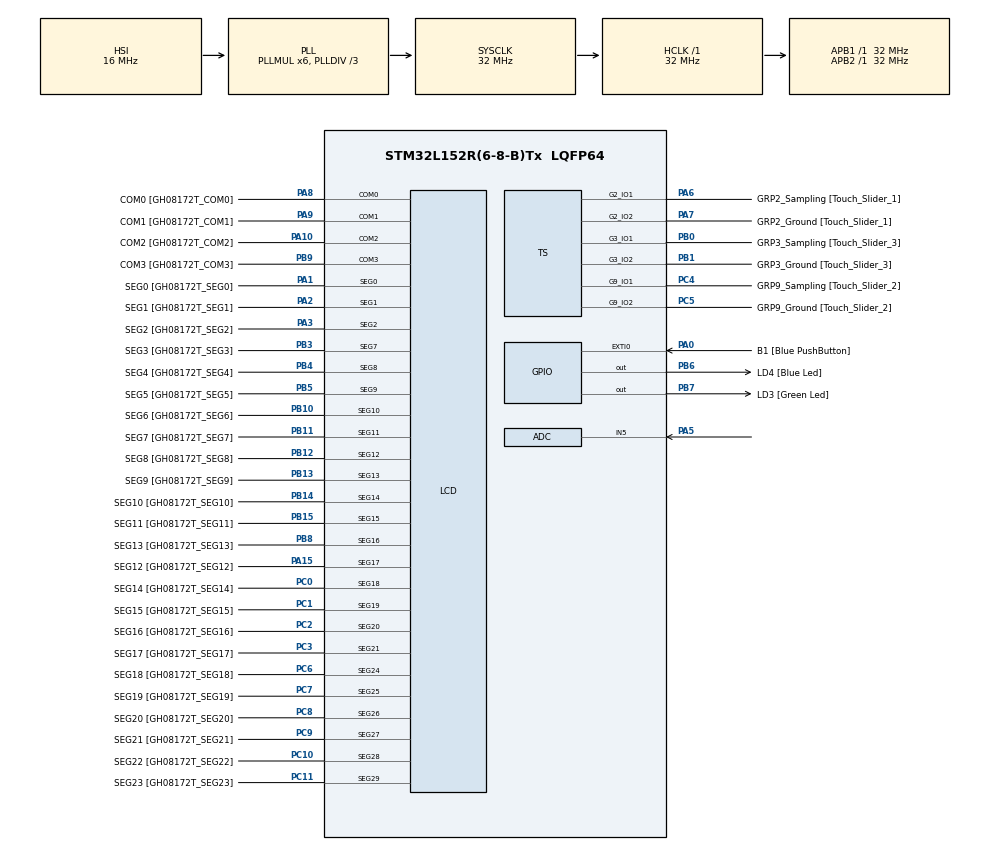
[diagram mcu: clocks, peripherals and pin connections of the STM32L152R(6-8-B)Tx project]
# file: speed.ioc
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ADC.Channel-0\#ChannelRegularConversion=ADC_CHANNEL_5
ADC.ExternalTrigConv=ADC_EXTERNALTRIGCONV_T2_CC3
ADC.ExternalTrigConvEdge=ADC_EXTERNALTRIGCONVEDGE_RISING
ADC.Rank-0\#ChannelRegularConversion=1
ADC.SamplingTime-0\#ChannelRegularConversion=ADC_SAMPLETIME_4CYCLES
Mcu.Family=STM32L1
Mcu.Name=STM32L152R(6-8-B)Tx
Mcu.Package=LQFP64
NVIC.PriorityGroup=NVIC_PRIORITYGROUP_0
PA0-WKUP1.GPIO_Label=B1 [Blue PushButton]
PA0-WKUP1.GPIO_ModeDefaultEXTI=GPIO_MODE_EVT_RISING
PA0-WKUP1.GPIO_PuPd=GPIO_NOPULL
PA0-WKUP1.Signal=GPXTI0
PA1.GPIO_Label=SEG0 [GH08172T_SEG0]
PA1.GPIO_Mode=GPIO_MODE_AF_PP
PA1.GPIO_PuPd=GPIO_NOPULL
PA1.GPIO_Speed=GPIO_SPEED_FREQ_LOW
PA1.Mode=SEG0
PA1.Signal=LCD_SEG0
PA10.GPIO_Label=COM2 [GH08172T_COM2]
PA10.GPIO_Mode=GPIO_MODE_AF_PP
PA10.GPIO_PuPd=GPIO_NOPULL
PA10.GPIO_Speed=GPIO_SPEED_FREQ_LOW
PA10.Mode=1/4 Duty Cycle
PA10.Signal=LCD_COM2
PA13.GPIO_Label=SWDIO
PA13.Mode=Serial_Wire
PA13.Signal=SYS_JTMS-SWDIO
PA14.GPIO_Label=SWCLK
PA14.Mode=Serial_Wire
PA14.Signal=SYS_JTCK-SWCLK
PA15.GPIO_Label=SEG12 [GH08172T_SEG12]
PA15.GPIO_Mode=GPIO_MODE_AF_PP
PA15.GPIO_PuPd=GPIO_NOPULL
PA15.GPIO_Speed=GPIO_SPEED_FREQ_LOW
PA15.Mode=SEG17
PA15.Signal=LCD_SEG17
PA2.GPIO_Label=SEG1 [GH08172T_SEG1]
PA2.GPIO_Mode=GPIO_MODE_AF_PP
PA2.GPIO_PuPd=GPIO_NOPULL
PA2.GPIO_Speed=GPIO_SPEED_FREQ_LOW
PA2.Mode=SEG1
PA2.Signal=LCD_SEG1
PA3.GPIO_Label=SEG2 [GH08172T_SEG2]
PA3.GPIO_Mode=GPIO_MODE_AF_PP
PA3.GPIO_PuPd=GPIO_NOPULL
PA3.GPIO_Speed=GPIO_SPEED_FREQ_LOW
PA3.Mode=SEG2
PA3.Signal=LCD_SEG2
PA4.GPIO_Label=IDD_Measurement
PA4.GPIO_Mode=GPIO_MODE_ANALOG
PA4.GPIO_PuPd=GPIO_NOPULL
PA4.Signal=ADC_IN4
PA5.Mode=IN5
PA5.Signal=ADC_IN5
PA6.GPIO_Label=GRP2_Sampling [Touch_Slider_1]
PA6.Mode=G2_IO1-Sampling
PA6.Signal=TS_G2_IO1
PA7.GPIO_Label=GRP2_Ground [Touch_Slider_1]
PA7.Mode=G2_IO2-Channel
PA7.Signal=TS_G2_IO2
PA8.GPIO_Label=COM0 [GH08172T_COM0]
PA8.GPIO_Mode=GPIO_MODE_AF_PP
PA8.GPIO_PuPd=GPIO_NOPULL
PA8.GPIO_Speed=GPIO_SPEED_FREQ_LOW
PA8.Mode=1/4 Duty Cycle
PA8.Signal=LCD_COM0
PA9.GPIO_Label=COM1 [GH08172T_COM1]
PA9.GPIO_Mode=GPIO_MODE_AF_PP
PA9.GPIO_PuPd=GPIO_NOPULL
PA9.GPIO_Speed=GPIO_SPEED_FREQ_LOW
PA9.Mode=1/4 Duty Cycle
PA9.Signal=LCD_COM1
PB0.GPIO_Label=GRP3_Sampling [Touch_Slider_3]
PB0.Mode=G3_IO1-Sampling
PB0.Signal=TS_G3_IO1
PB1.GPIO_Label=GRP3_Ground [Touch_Slider_3]
PB1.Mode=G3_IO2-Channel
PB1.Signal=TS_G3_IO2
PB10.GPIO_Label=SEG6 [GH08172T_SEG6]
PB10.GPIO_Mode=GPIO_MODE_AF_PP
PB10.GPIO_PuPd=GPIO_NOPULL
PB10.GPIO_Speed=GPIO_SPEED_FREQ_LOW
PB10.Mode=SEG10
PB10.Signal=LCD_SEG10
PB11.GPIO_Label=SEG7 [GH08172T_SEG7]
PB11.GPIO_Mode=GPIO_MODE_AF_PP
PB11.GPIO_PuPd=GPIO_NOPULL
PB11.GPIO_Speed=GPIO_SPEED_FREQ_LOW
PB11.Mode=SEG11
PB11.Signal=LCD_SEG11
PB12.GPIO_Label=SEG8 [GH08172T_SEG8]
PB12.GPIO_Mode=GPIO_MODE_AF_PP
PB12.GPIO_PuPd=GPIO_NOPULL
PB12.GPIO_Speed=GPIO_SPEED_FREQ_LOW
PB12.Mode=SEG12
PB12.Signal=LCD_SEG12
PB13.GPIO_Label=SEG9 [GH08172T_SEG9]
PB13.GPIO_Mode=GPIO_MODE_AF_PP
PB13.GPIO_PuPd=GPIO_NOPULL
PB13.GPIO_Speed=GPIO_SPEED_FREQ_LOW
PB13.Mode=SEG13
PB13.Signal=LCD_SEG13
PB14.GPIO_Label=SEG10 [GH08172T_SEG10]
PB14.GPIO_Mode=GPIO_MODE_AF_PP
PB14.GPIO_PuPd=GPIO_NOPULL
PB14.GPIO_Speed=GPIO_SPEED_FREQ_LOW
PB14.Mode=SEG14
PB14.Signal=LCD_SEG14
PB15.GPIO_Label=SEG11 [GH08172T_SEG11]
PB15.GPIO_Mode=GPIO_MODE_AF_PP
PB15.GPIO_PuPd=GPIO_NOPULL
PB15.GPIO_Speed=GPIO_SPEED_FREQ_LOW
PB15.Mode=SEG15
PB15.Signal=LCD_SEG15
PB3.GPIO_Label=SEG3 [GH08172T_SEG3]
PB3.GPIO_Mode=GPIO_MODE_AF_PP
PB3.GPIO_PuPd=GPIO_NOPULL
PB3.GPIO_Speed=GPIO_SPEED_FREQ_LOW
PB3.Mode=SEG7
PB3.Signal=LCD_SEG7
PB4.GPIO_Label=SEG4 [GH08172T_SEG4]
PB4.GPIO_Mode=GPIO_MODE_AF_PP
PB4.GPIO_PuPd=GPIO_NOPULL
PB4.GPIO_Speed=GPIO_SPEED_FREQ_LOW
PB4.Mode=SEG8
PB4.Signal=LCD_SEG8
PB5.GPIO_Label=SEG5 [GH08172T_SEG5]
PB5.GPIO_Mode=GPIO_MODE_AF_PP
PB5.GPIO_PuPd=GPIO_NOPULL
PB5.GPIO_Speed=GPIO_SPEED_FREQ_LOW
PB5.Mode=SEG9
PB5.Signal=LCD_SEG9
PB6.GPIO_Label=LD4 [Blue Led]
PB6.GPIO_ModeDefaultOutputPP=GPIO_MODE_OUTPUT_PP
PB6.GPIO_PuPd=GPIO_NOPULL
PB6.GPIO_Speed=GPIO_SPEED_FREQ_LOW
PB6.Signal=GPIO_Output
PB7.GPIO_Label=LD3 [Green Led]
PB7.GPIO_ModeDefaultOutputPP=GPIO_MODE_OUTPUT_PP
PB7.GPIO_PuPd=GPIO_NOPULL
PB7.GPIO_Speed=GPIO_SPEED_FREQ_LOW
PB7.Signal=GPIO_Output
PB8.GPIO_Label=SEG13 [GH08172T_SEG13]
PB8.GPIO_Mode=GPIO_MODE_AF_PP
PB8.GPIO_PuPd=GPIO_NOPULL
PB8.GPIO_Speed=GPIO_SPEED_FREQ_LOW
PB8.Mode=SEG16
PB8.Signal=LCD_SEG16
PB9.GPIO_Label=COM3 [GH08172T_COM3]
PB9.GPIO_Mode=GPIO_MODE_AF_PP
PB9.GPIO_PuPd=GPIO_NOPULL
PB9.GPIO_Speed=GPIO_SPEED_FREQ_LOW
PB9.Mode=1/4 Duty Cycle
PB9.Signal=LCD_COM3
PC0.GPIO_Label=SEG14 [GH08172T_SEG14]
PC0.GPIO_Mode=GPIO_MODE_AF_PP
PC0.GPIO_PuPd=GPIO_NOPULL
PC0.GPIO_Speed=GPIO_SPEED_FREQ_LOW
PC0.Mode=SEG18
PC0.Signal=LCD_SEG18
PC1.GPIO_Label=SEG15 [GH08172T_SEG15]
PC1.GPIO_Mode=GPIO_MODE_AF_PP
PC1.GPIO_PuPd=GPIO_NOPULL
PC1.GPIO_Speed=GPIO_SPEED_FREQ_LOW
PC1.Mode=SEG19
PC1.Signal=LCD_SEG19
PC10.GPIO_Label=SEG22 [GH08172T_SEG22]
PC10.GPIO_Mode=GPIO_MODE_AF_PP
PC10.GPIO_PuPd=GPIO_NOPULL
PC10.GPIO_Speed=GPIO_SPEED_FREQ_LOW
PC10.Mode=SEG28
PC10.Signal=LCD_SEG28
PC11.GPIO_Label=SEG23 [GH08172T_SEG23]
PC11.GPIO_Mode=GPIO_MODE_AF_PP
PC11.GPIO_PuPd=GPIO_NOPULL
PC11.GPIO_Speed=GPIO_SPEED_FREQ_LOW
PC11.Mode=SEG29
PC11.Signal=LCD_SEG29
PC14-OSC32_IN.GPIO_Label=PC14-OSC32_IN
PC14-OSC32_IN.Mode=LSE-External-Oscillator
PC14-OSC32_IN.Signal=RCC_OSC32_IN
PC15-OSC32_OUT.GPIO_Label=PC15-OSC32_OUT
PC15-OSC32_OUT.Mode=LSE-External-Oscillator
PC15-OSC32_OUT.Signal=RCC_OSC32_OUT
PC2.GPIO_Label=SEG16 [GH08172T_SEG16]
PC2.GPIO_Mode=GPIO_MODE_AF_PP
PC2.GPIO_PuPd=GPIO_NOPULL
PC2.GPIO_Speed=GPIO_SPEED_FREQ_LOW
PC2.Mode=SEG20
PC2.Signal=LCD_SEG20
PC3.GPIO_Label=SEG17 [GH08172T_SEG17]
PC3.GPIO_Mode=GPIO_MODE_AF_PP
PC3.GPIO_PuPd=GPIO_NOPULL
PC3.GPIO_Speed=GPIO_SPEED_FREQ_LOW
PC3.Mode=SEG21
PC3.Signal=LCD_SEG21
PC4.GPIO_Label=GRP9_Sampling [Touch_Slider_2]
PC4.Mode=G9_IO1-Sampling
PC4.Signal=TS_G9_IO1
PC5.GPIO_Label=GRP9_Ground [Touch_Slider_2]
PC5.Mode=G9_IO2-Channel
PC5.Signal=TS_G9_IO2
PC6.GPIO_Label=SEG18 [GH08172T_SEG18]
PC6.GPIO_Mode=GPIO_MODE_AF_PP
PC6.GPIO_PuPd=GPIO_NOPULL
PC6.GPIO_Speed=GPIO_SPEED_FREQ_LOW
PC6.Mode=SEG24
PC6.Signal=LCD_SEG24
PC7.GPIO_Label=SEG19 [GH08172T_SEG19]
PC7.GPIO_Mode=GPIO_MODE_AF_PP
PC7.GPIO_PuPd=GPIO_NOPULL
PC7.GPIO_Speed=GPIO_SPEED_FREQ_LOW
PC7.Mode=SEG25
PC7.Signal=LCD_SEG25
PC8.GPIO_Label=SEG20 [GH08172T_SEG20]
PC8.GPIO_Mode=GPIO_MODE_AF_PP
PC8.GPIO_PuPd=GPIO_NOPULL
PC8.GPIO_Speed=GPIO_SPEED_FREQ_LOW
PC8.Mode=SEG26
PC8.Signal=LCD_SEG26
PC9.GPIO_Label=SEG21 [GH08172T_SEG21]
PC9.GPIO_Mode=GPIO_MODE_AF_PP
PC9.GPIO_PuPd=GPIO_NOPULL
PC9.GPIO_Speed=GPIO_SPEED_FREQ_LOW
PC9.Mode=SEG27
PC9.Signal=LCD_SEG27
ProjectManager.HeapSize=0x200
ProjectManager.StackSize=0x400
ProjectManager.TargetToolchain=STM32CubeIDE
RCC.48MHZClocksFreq_Value=48000000
RCC.AHBFreq_Value=32000000
RCC.APB1Freq_Value=32000000
RCC.APB1TimFreq_Value=32000000
RCC.APB2Freq_Value=32000000
RCC.APB2TimFreq_Value=32000000
RCC.HCLKFreq_Value=32000000
RCC.HSE_VALUE=8000000
RCC.HSI_VALUE=16000000
RCC.MSI_VALUE=2097000
RCC.PLLDIV=RCC_PLL_DIV3
RCC.PLLMUL=RCC_PLL_MUL6
RCC.RTCClockSelectionVirtual=RCC_RTCCLKSOURCE_LSE
RCC.SYSCLKFreq_VALUE=32000000
RCC.SYSCLKSource=RCC_SYSCLKSOURCE_PLLCLK
RCC.USBOutput=48000000
RCC.VCOOutputFreq_Value=96000000
VP_TIM2_VS_ClockSourceINT.Mode=Internal
VP_TIM3_VS_ClockSourceINT.Mode=Internal
VP_TIM4_VS_ClockSourceINT.Mode=Internal
board=STM32L-DISCOVERY

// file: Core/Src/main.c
/* USER CODE BEGIN Header */
/**
  ******************************************************************************
  * @file           : main.c
  * @brief          : Main program body
  ******************************************************************************
  * @attention
  *
  * Copyright (c) 2024 STMicroelectronics.
  * All rights reserved.
  *
  * This software is licensed under terms that can be found in the LICENSE file
  * in the root directory of this software component.
  * If no LICENSE file comes with this software, it is provided AS-IS.
  *
  ******************************************************************************
  */
/* USER CODE END Header */
#include "main.h"

/* USER CODE BEGIN PD */
#define selection 4
#define MOTOR_A_IN1_PIN GPIO_PIN_6 // PC6
#define MOTOR_A_IN2_PIN GPIO_PIN_7 // PC7
#define MOTOR_B_IN3_PIN GPIO_PIN_8 // PC8
#define MOTOR_B_IN4_PIN GPIO_PIN_9 // PC9
/* USER CODE END PD */

ADC_HandleTypeDef hadc;

LCD_HandleTypeDef hlcd;

TIM_HandleTypeDef htim2;
TIM_HandleTypeDef htim3;
TIM_HandleTypeDef htim4;

/* USER CODE BEGIN PV */
unsigned int velocidades[selection + 1] = {0, 1023, 2047, 3071, 4095};
unsigned short valor = 0;
/* USER CODE END PV */

void SystemClock_Config(void);
static void MX_GPIO_Init(void);
static void MX_ADC_Init(void);
static void MX_LCD_Init(void);
static void MX_TS_Init(void);
static void MX_TIM4_Init(void);
static void MX_TIM3_Init(void);
static void MX_TIM2_Init(void);

/* USER CODE BEGIN 0 */

void ADC1_IRQHandler(void) {				//Lee el valor del canal analógico y lo convierte a digital
    if ((ADC1->SR & (1<<1)) != 0) {
        valor = ADC1->DR; 					// Lee el valor del ADC

    }
}

void ajustarVelocidad(unsigned short valor) {
	unsigned int velocidad = 0;
	for(unsigned int i = 0; i<selection; i++){
	    if(velocidades[i]<= valor && valor <=velocidades[i+1]){
	    	if (valor <= velocidades[1]) {
	    		        velocidad = 50;
	    		        TIM3->CCR2 = velocidad;
	    		        TIM3->CCR4 = velocidad;

	    		    } else if (valor <= velocidades[2]) {
	    		        velocidad = 70;
	    		        TIM3->CCR2 = velocidad;
	    		        TIM3->CCR4 = velocidad;

	    		    } else if (valor <= velocidades[3]) {
	    		        velocidad = 100;
	    		        TIM3->CCR2 = velocidad;
	    		        TIM3->CCR4 = velocidad;

	    		    }
	    }
	}
}

/* USER CODE END 0 */

int main(void)
{

  /* MCU Configuration--------------------------------------------------------*/

  /* Reset of all peripherals, Initializes the Flash interface and the Systick. */
  HAL_Init();

  /* Configure the system clock */
  SystemClock_Config();

  /* Initialize all configured peripherals */
  	MX_GPIO_Init();
  	MX_ADC_Init();
  	MX_LCD_Init();
  	MX_TS_Init();
  	MX_TIM4_Init();
  	MX_TIM3_Init();
  	MX_TIM2_Init();
  /* USER CODE BEGIN 2 */

  	// PC6, PC7, PC8, and PC9 as digital outputs (01)
  	GPIOC->MODER &= ~(1 << (6*2+1));
    GPIOC->MODER |= (1 << (6*2));

    GPIOC->MODER |= (1 << (7*2+1));
    GPIOC->MODER &= ~(1 << (7*2));
    GPIOC->AFR[0]=0x20000000;

    GPIOC->MODER &= ~(1<<(8*2+1));
    GPIOC->MODER |= (1<<(8*2));

    GPIOC->MODER 	|=  (1<<(9*2+1));
    GPIOC->MODER 	&= ~(1<<(9*2));
    GPIOC->AFR[1] = 0x00000020;

    //PA5 as an input(00)
    GPIOA->MODER |= 0x00000C00;

    //Analog to digital converter 1 config
  	ADC1 -> CR2 &= ~(0x00000001);	//ADC turn off
  	ADC1 -> CR1 = 0x00000020;		//Delay between samples configured till the previous result has been red
  	ADC1 -> CR2 = 0x00000412;		//EOC activated
  	ADC1 -> SQR1 = 0x00000000;		//add just 1 channel in the sequence
  	ADC1 -> SQR5 = 0x00000005;		//Channel is AIN5
  	ADC1 -> CR2 |= 0x00000001;		//ADC turn on
  	while ((ADC1->SR&0x0040)==0); 	// If ADCONS = 0, I wait till converter is ready
  	ADC1->CR2 |= 0x40000000;		//CR2 start conversion
  	NVIC->ISER[0] |= (1<<18);

  	// PWM Configuration for pin PC6 and channel 1 of TIM3
  	TIM3->CR1 = 0x0000; 			// Disable TIM3
  	TIM3->CR2 = 0x0000; 			// Trigger mode configuration
  	TIM3->SMCR = 0;					// Synchronization control configuration

  	TIM3->PSC = 319; 				// Prescaler configuration
  	TIM3->CNT = 0; 					// Initialize counter
  	TIM3->ARR = 99; 				// Auto-reload value configuration
  	TIM3->CCR2 = 1; 				// Duty cycle configuration (DC debe estar definido previamente)
  	TIM3->CCR3 = 1;					// Configure the capture/compare register 3 in PWM mode

  	TIM3->DIER = 0x0000; 			// Disable interrupts
  	TIM3->DCR = 0;					// Disable DCR
  	//PC7 ch2

  	TIM3->CCMR1 |= (1<<(5*2+1)); 	// Preload enable on CCMR1
	TIM3->CCMR1 |= (1<<(7*2));		// ===============================================================
	TIM3->CCMR1 |= (1<<(6*2+1));	// PWM with cycle starting at '0'
	TIM3->CCMR1 &= ~(1<<(6*2));		// ===============================================================

	//PC9 ch4
	TIM3->CCMR2 |= (1<<(5*2+1));	//PE

	//Los 3 siguientes para PWM (ver manual)
	TIM3->CCMR2 |= (1<<(7*2));		// ===============================================================
	TIM3->CCMR2 |= (1<<(6*2+1));	// PWM with cycle starting at '1'
	TIM3->CCMR2 &= ~(1<<(6*2));		// ===============================================================

	TIM3->CCER |= (1<<(2*2));		// Output enable on 2
	TIM3->CCER |= (1<<(6*2));		// Output enable on 4
	TIM3->CR1 |= (1<<(3*2+1));		// HW (bit ARPE)
	TIM3->EGR |= (1<<0);			// Enable Event Generation register on TIM3
	TIM3->CR1 |= (1<<0);			// Enable CR1
	TIM3->SR = 0;					// Flag to 0

   NVIC->ISER[0] |= (1 << 29);
  /* USER CODE END 2 */

  /* Infinite loop */
  while (1)
  {
	 ajustarVelocidad(valor);
  }
}

void SystemClock_Config(void)
{
  RCC_OscInitTypeDef RCC_OscInitStruct = {0};
  RCC_ClkInitTypeDef RCC_ClkInitStruct = {0};
  RCC_PeriphCLKInitTypeDef PeriphClkInit = {0};

  /** Configure the main internal regulator output voltage
  */
  __HAL_PWR_VOLTAGESCALING_CONFIG(PWR_REGULATOR_VOLTAGE_SCALE1);

  /** Initializes the RCC Oscillators according to the specified parameters
  * in the RCC_OscInitTypeDef structure.
  */
  RCC_OscInitStruct.OscillatorType = RCC_OSCILLATORTYPE_HSI|RCC_OSCILLATORTYPE_LSE;
  RCC_OscInitStruct.LSEState = RCC_LSE_ON;
  RCC_OscInitStruct.HSIState = RCC_HSI_ON;
  RCC_OscInitStruct.HSICalibrationValue = RCC_HSICALIBRATION_DEFAULT;
  RCC_OscInitStruct.PLL.PLLState = RCC_PLL_ON;
  RCC_OscInitStruct.PLL.PLLSource = RCC_PLLSOURCE_HSI;
  RCC_OscInitStruct.PLL.PLLMUL = RCC_PLL_MUL6;
  RCC_OscInitStruct.PLL.PLLDIV = RCC_PLL_DIV3;
  if (HAL_RCC_OscConfig(&RCC_OscInitStruct) != HAL_OK)
  {
    Error_Handler();
  }

  /** Initializes the CPU, AHB and APB buses clocks
  */
  RCC_ClkInitStruct.ClockType = RCC_CLOCKTYPE_HCLK|RCC_CLOCKTYPE_SYSCLK
                              |RCC_CLOCKTYPE_PCLK1|RCC_CLOCKTYPE_PCLK2;
  RCC_ClkInitStruct.SYSCLKSource = RCC_SYSCLKSOURCE_PLLCLK;
  RCC_ClkInitStruct.AHBCLKDivider = RCC_SYSCLK_DIV1;
  RCC_ClkInitStruct.APB1CLKDivider = RCC_HCLK_DIV1;
  RCC_ClkInitStruct.APB2CLKDivider = RCC_HCLK_DIV1;

  if (HAL_RCC_ClockConfig(&RCC_ClkInitStruct, FLASH_LATENCY_1) != HAL_OK)
  {
    Error_Handler();
  }
  PeriphClkInit.PeriphClockSelection = RCC_PERIPHCLK_RTC|RCC_PERIPHCLK_LCD;
  PeriphClkInit.RTCClockSelection = RCC_RTCCLKSOURCE_LSE;
  PeriphClkInit.LCDClockSelection = RCC_RTCCLKSOURCE_LSE;

  if (HAL_RCCEx_PeriphCLKConfig(&PeriphClkInit) != HAL_OK)
  {
    Error_Handler();
  }
}

static void MX_ADC_Init(void)
{

  ADC_ChannelConfTypeDef sConfig = {0};

  /** Configure the global features of the ADC (Clock, Resolution, Data Alignment and number of conversion)
  */
  hadc.Instance = ADC1;
  hadc.Init.ClockPrescaler = ADC_CLOCK_ASYNC_DIV1;
  hadc.Init.Resolution = ADC_RESOLUTION_12B;
  hadc.Init.DataAlign = ADC_DATAALIGN_RIGHT;
  hadc.Init.ScanConvMode = ADC_SCAN_DISABLE;
  hadc.Init.EOCSelection = ADC_EOC_SEQ_CONV;
  hadc.Init.LowPowerAutoWait = ADC_AUTOWAIT_DISABLE;
  hadc.Init.LowPowerAutoPowerOff = ADC_AUTOPOWEROFF_DISABLE;
  hadc.Init.ChannelsBank = ADC_CHANNELS_BANK_A;
  hadc.Init.ContinuousConvMode = DISABLE;
  hadc.Init.NbrOfConversion = 1;
  hadc.Init.DiscontinuousConvMode = DISABLE;
  hadc.Init.ExternalTrigConv = ADC_EXTERNALTRIGCONV_T2_CC3;
  hadc.Init.ExternalTrigConvEdge = ADC_EXTERNALTRIGCONVEDGE_RISING;
  hadc.Init.DMAContinuousRequests = DISABLE;
  if (HAL_ADC_Init(&hadc) != HAL_OK)
  {
    Error_Handler();
  }

  /** Configure for the selected ADC regular channel its corresponding rank in the sequencer and its sample time.
  */
  sConfig.Channel = ADC_CHANNEL_5;
  sConfig.Rank = ADC_REGULAR_RANK_1;
  sConfig.SamplingTime = ADC_SAMPLETIME_4CYCLES;
  if (HAL_ADC_ConfigChannel(&hadc, &sConfig) != HAL_OK)
  {
    Error_Handler();
  }

}

static void MX_LCD_Init(void)
{

  hlcd.Instance = LCD;
  hlcd.Init.Prescaler = LCD_PRESCALER_1;
  hlcd.Init.Divider = LCD_DIVIDER_16;
  hlcd.Init.Duty = LCD_DUTY_1_4;
  hlcd.Init.Bias = LCD_BIAS_1_4;
  hlcd.Init.VoltageSource = LCD_VOLTAGESOURCE_INTERNAL;
  hlcd.Init.Contrast = LCD_CONTRASTLEVEL_0;
  hlcd.Init.DeadTime = LCD_DEADTIME_0;
  hlcd.Init.PulseOnDuration = LCD_PULSEONDURATION_0;
  hlcd.Init.MuxSegment = LCD_MUXSEGMENT_DISABLE;
  hlcd.Init.BlinkMode = LCD_BLINKMODE_OFF;
  hlcd.Init.BlinkFrequency = LCD_BLINKFREQUENCY_DIV8;
  if (HAL_LCD_Init(&hlcd) != HAL_OK)
  {
    Error_Handler();
  }

}

static void MX_TIM2_Init(void)
{

  TIM_ClockConfigTypeDef sClockSourceConfig = {0};
  TIM_MasterConfigTypeDef sMasterConfig = {0};

  htim2.Instance = TIM2;
  htim2.Init.Prescaler = 0;
  htim2.Init.CounterMode = TIM_COUNTERMODE_UP;
  htim2.Init.Period = 65535;
  htim2.Init.ClockDivision = TIM_CLOCKDIVISION_DIV1;
  htim2.Init.AutoReloadPreload = TIM_AUTORELOAD_PRELOAD_DISABLE;
  if (HAL_TIM_Base_Init(&htim2) != HAL_OK)
  {
    Error_Handler();
  }
  sClockSourceConfig.ClockSource = TIM_CLOCKSOURCE_INTERNAL;
  if (HAL_TIM_ConfigClockSource(&htim2, &sClockSourceConfig) != HAL_OK)
  {
    Error_Handler();
  }
  sMasterConfig.MasterOutputTrigger = TIM_TRGO_RESET;
  sMasterConfig.MasterSlaveMode = TIM_MASTERSLAVEMODE_DISABLE;
  if (HAL_TIMEx_MasterConfigSynchronization(&htim2, &sMasterConfig) != HAL_OK)
  {
    Error_Handler();
  }

}

static void MX_TIM3_Init(void)
{

  TIM_ClockConfigTypeDef sClockSourceConfig = {0};
  TIM_MasterConfigTypeDef sMasterConfig = {0};

  htim3.Instance = TIM3;
  htim3.Init.Prescaler = 0;
  htim3.Init.CounterMode = TIM_COUNTERMODE_UP;
  htim3.Init.Period = 65535;
  htim3.Init.ClockDivision = TIM_CLOCKDIVISION_DIV1;
  htim3.Init.AutoReloadPreload = TIM_AUTORELOAD_PRELOAD_DISABLE;
  if (HAL_TIM_Base_Init(&htim3) != HAL_OK)
  {
    Error_Handler();
  }
  sClockSourceConfig.ClockSource = TIM_CLOCKSOURCE_INTERNAL;
  if (HAL_TIM_ConfigClockSource(&htim3, &sClockSourceConfig) != HAL_OK)
  {
    Error_Handler();
  }
  sMasterConfig.MasterOutputTrigger = TIM_TRGO_RESET;
  sMasterConfig.MasterSlaveMode = TIM_MASTERSLAVEMODE_DISABLE;
  if (HAL_TIMEx_MasterConfigSynchronization(&htim3, &sMasterConfig) != HAL_OK)
  {
    Error_Handler();
  }

}

static void MX_TIM4_Init(void)
{

  TIM_ClockConfigTypeDef sClockSourceConfig = {0};
  TIM_MasterConfigTypeDef sMasterConfig = {0};

  htim4.Instance = TIM4;
  htim4.Init.Prescaler = 0;
  htim4.Init.CounterMode = TIM_COUNTERMODE_UP;
  htim4.Init.Period = 65535;
  htim4.Init.ClockDivision = TIM_CLOCKDIVISION_DIV1;
  htim4.Init.AutoReloadPreload = TIM_AUTORELOAD_PRELOAD_DISABLE;
  if (HAL_TIM_Base_Init(&htim4) != HAL_OK)
  {
    Error_Handler();
  }
  sClockSourceConfig.ClockSource = TIM_CLOCKSOURCE_INTERNAL;
  if (HAL_TIM_ConfigClockSource(&htim4, &sClockSourceConfig) != HAL_OK)
  {
    Error_Handler();
  }
  sMasterConfig.MasterOutputTrigger = TIM_TRGO_RESET;
  sMasterConfig.MasterSlaveMode = TIM_MASTERSLAVEMODE_DISABLE;
  if (HAL_TIMEx_MasterConfigSynchronization(&htim4, &sMasterConfig) != HAL_OK)
  {
    Error_Handler();
  }

}

static void MX_TS_Init(void)
{

}

static void MX_GPIO_Init(void)
{
  GPIO_InitTypeDef GPIO_InitStruct = {0};

  /* GPIO Ports Clock Enable */
  __HAL_RCC_GPIOC_CLK_ENABLE();
  __HAL_RCC_GPIOA_CLK_ENABLE();
  __HAL_RCC_GPIOB_CLK_ENABLE();

  /*Configure GPIO pin Output Level */
  HAL_GPIO_WritePin(GPIOB, LD4_Pin|LD3_Pin, GPIO_PIN_RESET);

  /*Configure GPIO pin : B1_Pin */
  GPIO_InitStruct.Pin = B1_Pin;
  GPIO_InitStruct.Mode = GPIO_MODE_EVT_RISING;
  GPIO_InitStruct.Pull = GPIO_NOPULL;
  HAL_GPIO_Init(B1_GPIO_Port, &GPIO_InitStruct);

  /*Configure GPIO pins : LD4_Pin LD3_Pin */
  GPIO_InitStruct.Pin = LD4_Pin|LD3_Pin;
  GPIO_InitStruct.Mode = GPIO_MODE_OUTPUT_PP;
  GPIO_InitStruct.Pull = GPIO_NOPULL;
  GPIO_InitStruct.Speed = GPIO_SPEED_FREQ_LOW;
  HAL_GPIO_Init(GPIOB, &GPIO_InitStruct);

}

void Error_Handler(void)
{
  __disable_irq();
  while (1)
  {
  }
}
